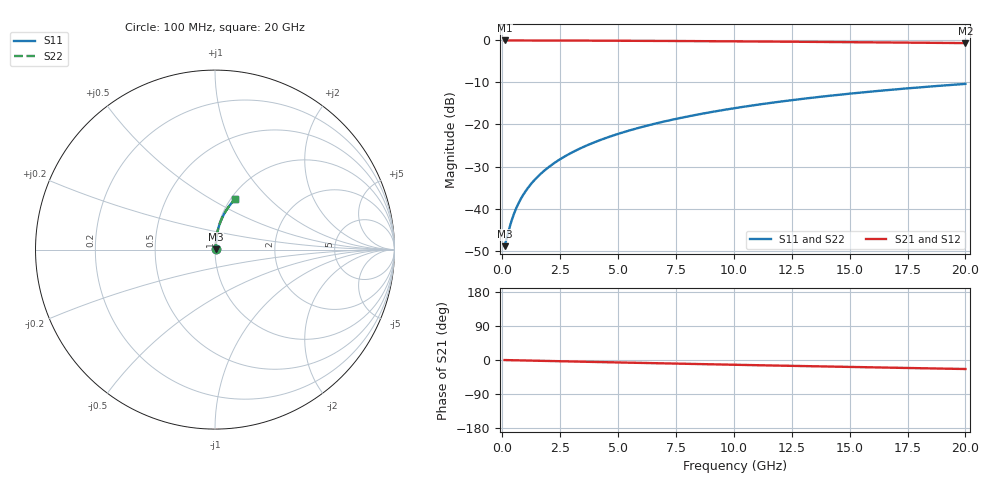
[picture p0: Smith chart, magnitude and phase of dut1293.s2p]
! Touchstone file exported from HFSS 2024.1.0
!  File:  C:/UserFiles/LocalFiles/RDL_TSV_Batchsim/temp_RDL_bottom_1293_1780247147.aedt
!  Generated:  01:08:43 AM Jun  1, 2026
!  Design:  RDL_bottom
!  Project:  temp_RDL_bottom_1293_1780247147
!  Setup:  Setup1
!  Solution:  Sweep
! Variables:
!  dtsv = 10.80580581um
!  hbump = 3um
!  htsv = 81.15um
!  ldown = 251.06um
!  lrdl = 100um
!  p = 40
!  p1 = 51.52um
!  rhole = 1um
!  t = 450um
!  tdown = 2.18um
!  trdl = 3.915915916um
!  wdown = 13.94um
!  wrdl = 20um
# GHz S MA R 50.000000
! Terminal data exported
! Port[1] = RDL1_T1
! Port[2] = RDL1_T2
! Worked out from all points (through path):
!   200 points, 100 MHz to 20 GHz, reference 50 ohm
!   highest |S21| = -0.03 dB at 100 MHz (marker M1); lowest = -0.7 dB at 20 GHz (marker M2)
!   group delay of S21, straight-line fit = 3.3 ps
!   lowest |S11| = -48.9 dB at 100 MHz (marker M3), VSWR 1.01, Z = 50.3 + j0.161 ohm
!   |S11| at or under -10 dB: start of sweep to end of sweep
!   |S22| runs from -48.9 to -10.4 dB; largest |S21 - S12| = 3.3e-15
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0.1  0.003578 26.5  0.9968 -0.1  0.9968 -0.1  0.003578 26.5
! Gamma 0 0 0 0
! Port Impedance 50 0 50 0
0.3  0.005792 55.5  0.9967 -0.4  0.9967 -0.4  0.005792 55.5
0.4  0.00717 62.2  0.9966 -0.5  0.9966 -0.5  0.00717 62.2
0.5  0.008607 66.7  0.9966 -0.7  0.9966 -0.7  0.008607 66.7
0.6  0.01007 69.8  0.9965 -0.8  0.9965 -0.8  0.01007 69.8
0.7  0.01155 72.1  0.9964 -0.9  0.9964 -0.9  0.01155 72.1
0.9  0.01453 75.2  0.9962 -1.2  0.9962 -1.2  0.01453 75.2
1.2  0.01902 78.1  0.9959 -1.6  0.9959 -1.6  0.01902 78.1
1.4  0.02202 79.3  0.9957 -1.8  0.9957 -1.8  0.02202 79.3
1.7  0.02654 80.6  0.9954 -2.2  0.9954 -2.2  0.02654 80.6
2.2  0.03412 81.9  0.9948 -2.9  0.9948 -2.9  0.03412 81.9
2.8  0.04328 82.7  0.9939 -3.7  0.9939 -3.7  0.04328 82.7
3.5  0.05403 83.1  0.9927 -4.6  0.9927 -4.6  0.05403 83.1
4.2  0.06485 83.1  0.9913 -5.4  0.9913 -5.4  0.06484 83.1
5  0.07728 82.9  0.9894 -6.5  0.9894 -6.5  0.07728 82.9
5.9  0.09135 82.5  0.987 -7.6  0.987 -7.6  0.09135 82.4
6.8  0.1055 81.9  0.9843 -8.7  0.9843 -8.7  0.1055 81.9
8.3  0.1291 80.6  0.9794 -10.5  0.9794 -10.5  0.1291 80.6
10.1  0.1573 78.9  0.9727 -12.7  0.9727 -12.7  0.1573 78.9
13.4  0.2083 75.4  0.959 -16.5  0.959 -16.5  0.2082 75.4
16.7  0.2572 71.8  0.9437 -20.2  0.9437 -20.2  0.2572 71.8
20  0.3037 68.2  0.9271 -23.8  0.9271 -23.8  0.3037 68.2
